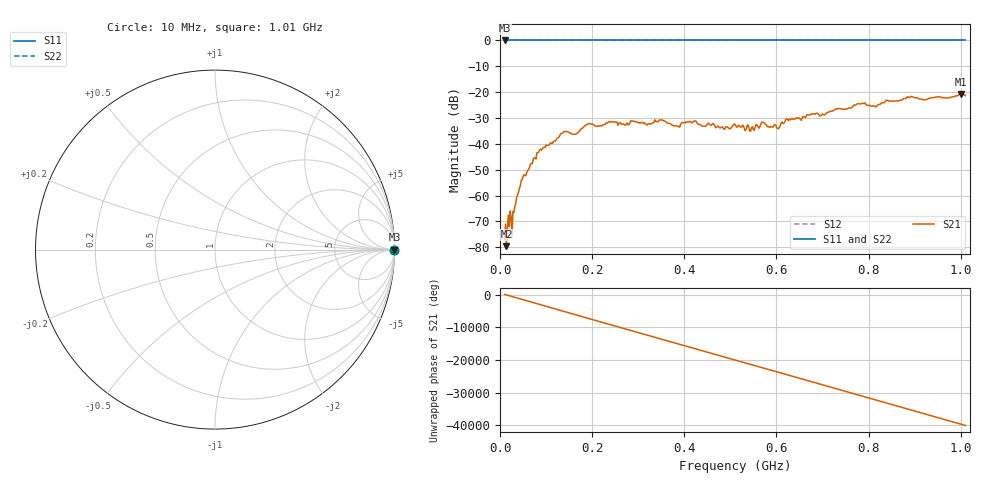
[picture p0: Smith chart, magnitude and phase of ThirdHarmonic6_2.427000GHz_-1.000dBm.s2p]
! 8/17/2025 4:10:51 AM
! C:\ANRITSUVNA\TEMP\TEMP.S2P
! CHANNEL.1
! TR.MEASUREMENT
! RAW.DATA
! RF.CORRECTION.OFF
! AVERAGING.OFF
! IF.BANDWIDTH: 5KHZ
! SWEEPTYPE:  FREQ.SWEEP(Linear)
! Reference Plane Port Info
! PORT:  PORT1  PORT2
! DISTANCE:  0  m  0  m
! TIME:  0  s  0  s
! PHASE.OFFSET:  0  deg.  0  deg.
! LOSS:  0  dB  0  dB
! REF.LOSS:  0  dB  0  dB
! REF.FREQ:  0  Hz  0  Hz
! Power Info
! POWER:  -20  dBm  -20  dBm
! EFF.POWER:  -20  dBm  -20  dBm
! SOURCE.ATTEN:  0  dB  0  dB
! TEST.ATTEN:  0  dB  0  dB
# GHZ S RI R 50.0
! FREQ.GHZ  S11RE  S11IM  S21RE  S21IM  S12RE  S12IM  S22RE  S22IM
!; PortSelection: Port_12
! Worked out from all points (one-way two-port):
!   501 points, 10 MHz to 1.01 GHz, reference 50 ohm
!   highest |S21| = -20.68 dB at 1 GHz (marker M1); lowest = -79.6 dB at 14 MHz (marker M2)
!   lowest |S11| = 0.0 dB at 10 MHz (marker M3)
!   |S11| at or under -10 dB: nowhere
!   |S22| runs from 0.0 to 0.0 dB; largest |S21 - S12| = 1.1
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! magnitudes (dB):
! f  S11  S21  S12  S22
! 10 MHz  0.0  -77.1  0.0  0.0
! 14 MHz  0.0  -79.6  0.0  0.0
! 20 MHz  0.0  -71.9  0.0  0.0
! 30 MHz  0.0  -66.6  0.0  0.0
! 32 MHz  0.0  -64.4  0.0  0.0
! 48 MHz  0.0  -53.9  0.0  0.0
! 84 MHz  0.0  -43.2  0.0  0.0
! 136 MHz  0.0  -35.8  0.0  0.0
! 162 MHz  0.0  -36.3  0.0  0.0
! 178 MHz  0.0  -34.1  0.0  0.0
! 344 MHz  0.0  -31.3  0.0  0.0
! 386 MHz  0.0  -33.3  0.0  0.0
! 422 MHz  0.0  -31.2  0.0  0.0
! 510 MHz  0.0  -32.5  0.0  0.0
! 546 MHz  0.0  -33.7  0.0  0.0
! 572 MHz  0.0  -31.7  0.0  0.0
! 604 MHz  0.0  -34.1  0.0  0.0
! 624 MHz  0.0  -30.5  0.0  0.0
! 678 MHz  0.0  -28.5  0.0  0.0
! 844 MHz  0.0  -23.5  0.0  0.0
! 1 GHz  0.0  -20.7  0.0  0.0
! 1.01 GHz  0.0  -21.3  0.0  0.0
